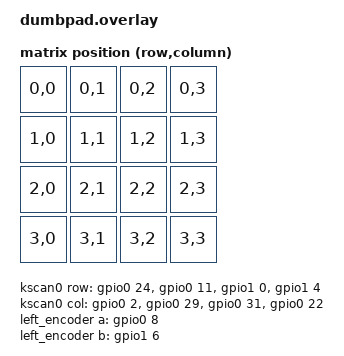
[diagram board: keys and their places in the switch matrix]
#include <dt-bindings/zmk/matrix_transform.h>

/ {
    chosen {
        zmk,kscan = &kscan0;
        zmk,matrix-transform = &default_transform;
    };

    /* Definisi Matrix Scanning GPIO (4 Rows x 4 Cols) */
    kscan0: kscan {
        compatible = "zmk,kscan-gpio-matrix";
        wakeup-source;
        diode-direction = "COL2ROW"; // Arah dioda standar Dumbpad

        row-gpios
            = <&gpio0 24 (GPIO_ACTIVE_HIGH | GPIO_PULL_DOWN)> // Row 0 (D4)
            , <&gpio0 11 (GPIO_ACTIVE_HIGH | GPIO_PULL_DOWN)> // Row 1 (C6)
            , <&gpio1  0 (GPIO_ACTIVE_HIGH | GPIO_PULL_DOWN)> // Row 2 (D7)
            , <&gpio1  4 (GPIO_ACTIVE_HIGH | GPIO_PULL_DOWN)> // Row 3 (E6)
            ;

        col-gpios
            = <&gpio0  2 GPIO_ACTIVE_HIGH> // Col 0 (F4)
            , <&gpio0 29 GPIO_ACTIVE_HIGH> // Col 1 (F5)
            , <&gpio0 31 GPIO_ACTIVE_HIGH> // Col 2 (F6)
            , <&gpio0 22 GPIO_ACTIVE_HIGH> // Col 3 (F7)
            ;
    };

    /* Matrix Transform untuk memetakan tombol di ZMK Keymap */
    default_transform: matrix_transform {
        compatible = "zmk,matrix-transform";
        rows = <4>;
        columns = <4>;

        map = <
            RC(0,0) RC(0,1) RC(0,2) RC(0,3)
            RC(1,0) RC(1,1) RC(1,2) RC(1,3)
            RC(2,0) RC(2,1) RC(2,2) RC(2,3)
            RC(3,0) RC(3,1) RC(3,2) RC(3,3)
        >;
    };

    /* Definisi Hardware Rotary Encoder (Sisi Kiri Kiri-Bawah / Posisi X) */
    left_encoder: encoder_left {
        compatible = "alps,ec11";
        a-gpios = <&gpio0 8 (GPIO_ACTIVE_LOW | GPIO_PULL_UP)>;  // Pin A (B2)
        b-gpios = <&gpio1 6 (GPIO_ACTIVE_LOW | GPIO_PULL_UP)>;  // Pin B (B6)
        steps = <80>;
        status = "okay";
    };

    sensors: sensors {
        compatible = "zmk,keymap-sensors";
        sensors = <&left_encoder>;
        triggers-per-rotation = <20>;
    };
};
